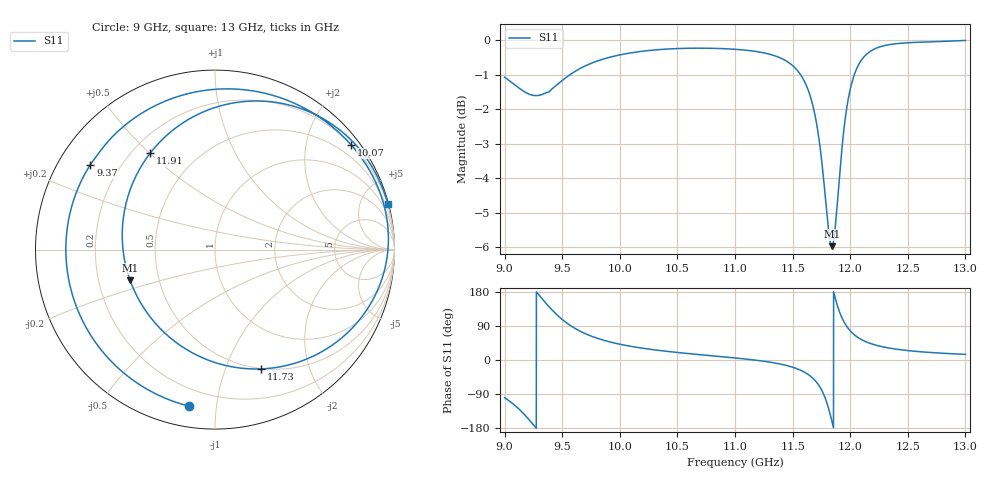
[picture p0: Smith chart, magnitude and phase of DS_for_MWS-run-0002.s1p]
! TOUCHSTONE file generated by CST DESIGN STUDIO
! Date and time: Tue Feb  4 14:27:41 2025
! Project name: C:\Work\MatlabApps\UnitCellOptimizationMatlab\CST\unitcell.cst
! Tree item: Tasks\Sweep1\SPara1\S-Parameters
! Header version: 2024
! Port assignment regex: !\s*Touchstone port\s*([0-9]+)\s*=\s*(CST MWS port|CST DES external port|CST DES block port)\s*(.+)\s* \(\"(.*)\"\)(\s*mode\s*([0-9]+))?.*
! Touchstone port assignment:
! Touchstone port 1 = CST DES external port 1 ("")
# GHz S MA R 50
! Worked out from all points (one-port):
!   4001 points, 9 GHz to 13 GHz, reference 50 ohm
!   lowest |S11| = -6.0 dB at 11.84 GHz (marker M1), VSWR 3.02, Z = 17 - j7.74 ohm
!   |S11| at or under -10 dB: nowhere
!   S11 on the Smith chart (normalised r, x): 9 GHz: 0.11, -0.84; 9.37 GHz: 0.10, +0.31; 10.07 GHz: 0.21, +2.92; 11.73 GHz: 0.50, -1.34; 11.91 GHz: 0.27, +0.50; 13 GHz: 0.03, +7.69
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9  0.8839 -99.6
9.116  0.8544 -127.1
9.227  0.8334 -162.6
9.298  0.8318 171.6
9.37  0.8401 145.7
9.435  0.8564 124.9
9.5  0.8741 107.0
9.594  0.8972 86.5
9.723  0.9213 66.5
10  0.9519 41.6
10.067  0.9566 37.6
10.5  0.9723 19.8
11  0.9699 5.5
11.296  0.9544 -5.4
11.5  0.9186 -19.0
11.636  0.8461 -38.3
11.687  0.7893 -51.4
11.732  0.7133 -68.7
11.788  0.5828 -104.5
11.84  0.503 -160.2
11.874  0.5443 158.9
11.911  0.6473 123.9
11.952  0.7584 97.4
12  0.8484 77.1
12.077  0.9239 57.5
12.174  0.9632 43.8
12.5  0.9912 24.9
13  0.9989 14.8
